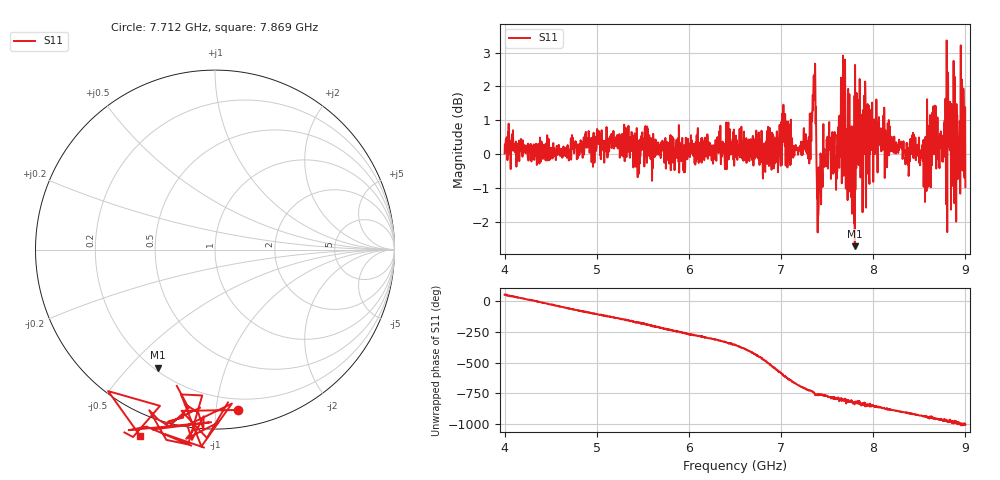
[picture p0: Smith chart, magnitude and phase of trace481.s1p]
! Created with skrf 1.8.0 (http://scikit-rf.org).
# Hz S RI R 50.0
!freq ReS11 ImS11
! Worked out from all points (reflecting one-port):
!   1601 points, 4 GHz to 9 GHz, reference 50 ohm
!   lowest |S11| = -2.7 dB at 7.8 GHz (marker M1), VSWR 6.42, Z = 10.8 - j30.3 ohm
!   phase of S11 starts at 51 deg and turns -1054 deg over the sweep
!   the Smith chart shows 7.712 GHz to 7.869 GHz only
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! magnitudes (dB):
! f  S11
! 4 GHz  0.0
! 4.625 GHz  -0.1
! 5.25 GHz  -0.1
! 5.875 GHz  0.2
! 6.5 GHz  0.2
! 6.806 GHz  0.0
! 7.038 GHz  0.6
! 7.125 GHz  0.1
! 7.294 GHz  -0.1
! 7.353 GHz  2.3
! 7.409 GHz  -1.3
! 7.512 GHz  0.1
! 7.591 GHz  -0.2
! 7.672 GHz  2.9
! 7.75 GHz  0.0
! 7.769 GHz  -1.6
! 7.8 GHz  -2.7
! 7.844 GHz  1.2
! 8.375 GHz  -0.1
! 8.441 GHz  -0.1
! 8.556 GHz  0.4
! 8.656 GHz  1.0
! 8.769 GHz  0.9
! 8.822 GHz  1.0
! 8.919 GHz  -0.1
! 8.956 GHz  0.4
! 8.972 GHz  0.5
! 9 GHz  -1.0
